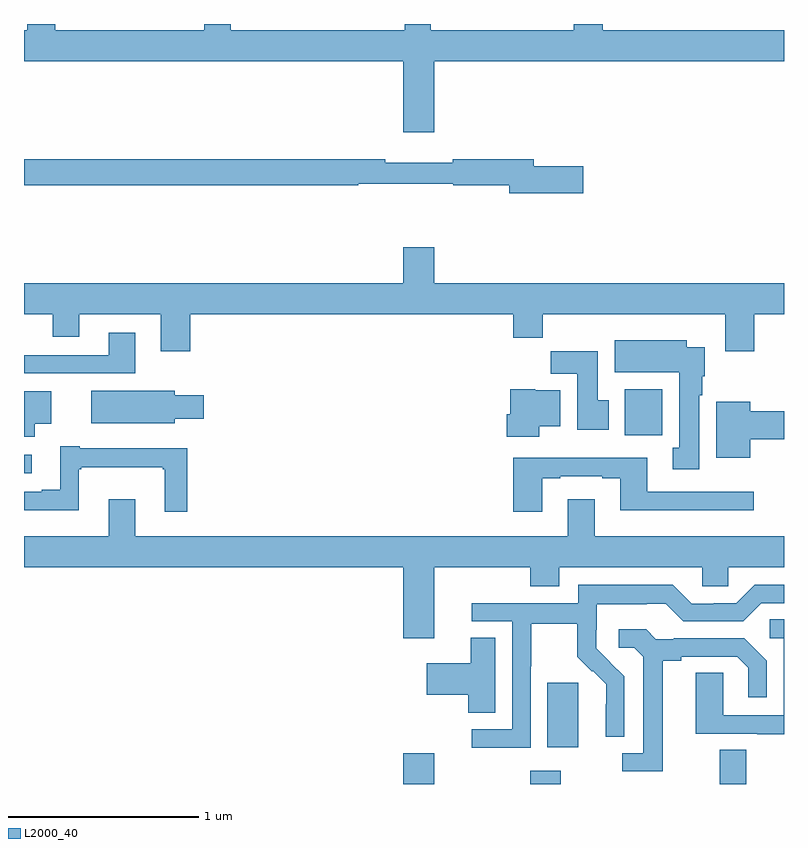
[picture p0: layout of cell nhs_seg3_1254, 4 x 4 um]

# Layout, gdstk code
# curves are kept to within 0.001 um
import gdstk
lib = gdstk.Library(unit=1e-6, precision=1e-09)
def R(c, l, rs):  # rectangles x0, y0, x1, y1
    for r in rs: c.add(gdstk.rectangle(r[:2], r[2:], *l))
def P(c, l, *ps):  # polygons
    for p in ps: c.add(gdstk.Polygon(p, *l))
L2000_40 = (2000, 40)

nhs_seg3_1254 = lib.new_cell('nhs_seg3_1254')
R(nhs_seg3_1254, L2000_40, [(176.996,742.4,177.16,742.561), (177.665,742.4,177.825,742.471), (178.661,742.4,178.801,742.58), (177.755,742.593,177.916,742.933), (175,744.036,175.042,744.132), (178.163,744.236,178.36,744.478)])
P(nhs_seg3_1254, L2000_40, [(177.16,746.204),(179,746.204),(179,746.368),(178.046,746.368),(178.046,746.4),(177.893,746.4),(177.893,746.368),(177.141,746.368),(177.141,746.4),(177.003,746.4),(177.003,746.368),(176.089,746.368),(176.089,746.4),(175.949,746.4),(175.949,746.368),(175.165,746.368),(175.165,746.4),(175.018,746.4),(175.018,746.368),(175,746.368),(175,746.204),(176.996,746.204),(176.996,745.83),(177.16,745.83)],
  [(177.943,745.652),(177.682,745.652),(177.682,745.688),(177.256,745.688),(177.256,745.669),(176.9,745.669),(176.9,745.688),(175,745.688),(175,745.552),(176.758,745.552),(176.758,745.56),(177.258,745.56),(177.258,745.552),(177.554,745.552),(177.554,745.51),(177.943,745.51)],
  [(175.874,744.872),(177.575,744.872),(177.575,744.748),(177.731,744.748),(177.731,744.872),(178.691,744.872),(178.691,744.678),(178.844,744.678),(178.844,744.872),(179,744.872),(179,745.036),(177.16,745.036),(177.16,745.225),(176.996,745.225),(176.996,745.036),(175,745.036),(175,744.872),(175.151,744.872),(175.151,744.755),(175.291,744.755),(175.291,744.872),(175.721,744.872),(175.721,744.678),(175.874,744.678)],
  [(175.585,744.775),(175.445,744.775),(175.445,744.657),(175,744.657),(175,744.561),(175.585,744.561)],
  [(178.555,744.446),(178.57,744.446),(178.57,744.546),(178.582,744.546),(178.582,744.7),(178.489,744.7),(178.489,744.736),(178.109,744.736),(178.109,744.566),(178.448,744.566),(178.448,744.17),(178.415,744.17),(178.415,744.057),(178.555,744.057)],
  [(178.078,744.42),(178.021,744.42),(178.021,744.678),(177.772,744.678),(177.772,744.56),(177.911,744.56),(177.911,744.264),(178.078,744.264)],
  [(177.712,744.284),(177.823,744.284),(177.823,744.472),(177.69,744.472),(177.69,744.478),(177.56,744.478),(177.56,744.345),(177.542,744.345),(177.542,744.227),(177.712,744.227)],
  [(175.794,744.323),(175.945,744.323),(175.945,744.445),(175.794,744.445),(175.794,744.469),(175.355,744.469),(175.355,744.299),(175.794,744.299)],
  [(175.056,744.296),(175.144,744.296),(175.144,744.466),(175,744.466),(175,744.227),(175.056,744.227)],
  [(178.822,744.215),(179,744.215),(179,744.362),(178.822,744.362),(178.822,744.412),(178.643,744.412),(178.643,744.116),(178.822,744.116)],
  [(175.859,744.166),(175.294,744.166),(175.294,744.178),(175.19,744.178),(175.19,743.95),(175.094,743.95),(175.094,743.937),(175,743.937),(175,743.84),(175.288,743.84),(175.288,744.057),(175.3,744.057),(175.3,744.068),(175.731,744.068),(175.731,744.057),(175.742,744.057),(175.742,743.832),(175.859,743.832)],
  [(177.727,744.009),(177.823,744.009),(177.823,744.021),(178.043,744.021),(178.043,744.009),(178.139,744.009),(178.139,743.84),(178.84,743.84),(178.84,743.937),(178.279,743.937),(178.279,744.118),(177.575,744.118),(177.575,743.832),(177.727,743.832)],
  [(177.16,743.54),(177.665,743.54),(177.665,743.441),(177.817,743.441),(177.817,743.54),(178.569,743.54),(178.569,743.442),(178.707,743.442),(178.707,743.54),(179,743.54),(179,743.704),(178.003,743.704),(178.003,743.899),(177.863,743.899),(177.863,743.704),(175.585,743.704),(175.585,743.899),(175.445,743.899),(175.445,743.704),(175,743.704),(175,743.54),(176.996,743.54),(176.996,743.166),(177.16,743.166)],
  [(177.666,743.02),(177.669,743.02),(177.669,743.244),(177.913,743.244),(177.913,743.069),(177.99,742.992),(177.993,742.995),(178.064,742.925),(178.064,742.82),(178.061,742.82),(178.061,742.648),(178.158,742.648),(178.158,742.966),(178.012,743.114),(178.012,743.211),(178.014,743.211),(178.014,743.345),(178.277,743.345),(178.277,743.349),(178.377,743.349),(178.47,743.256),(178.785,743.256),(178.881,743.352),(179,743.352),(179,743.448),(178.845,743.448),(178.749,743.352),(178.631,743.352),(178.631,743.349),(178.515,743.349),(178.415,743.449),(177.918,743.449),(177.918,743.352),(177.357,743.352),(177.357,743.256),(177.57,743.256),(177.57,742.689),(177.357,742.689),(177.357,742.591),(177.666,742.591)],
  [(179,743.267),(178.926,743.267),(178.926,743.166),(178.998,743.166),(178.998,742.761),(178.68,742.761),(178.68,742.985),(178.535,742.985),(178.535,742.665),(178.859,742.665),(178.859,742.661),(179,742.661)],
  [(178.363,743.048),(178.459,743.048),(178.459,743.07),(178.754,743.07),(178.811,743.013),(178.811,742.857),(178.908,742.857),(178.908,743.05),(178.792,743.166),(178.42,743.166),(178.42,743.163),(178.326,743.163),(178.274,743.215),(178.131,743.215),(178.131,743.118),(178.212,743.118),(178.259,743.071),(178.259,742.563),(178.149,742.563),(178.149,742.467),(178.363,742.467)],
  [(177.481,743.171),(177.35,743.171),(177.35,743.035),(177.12,743.035),(177.12,742.87),(177.338,742.87),(177.338,742.774),(177.481,742.774)])

lib.write_gds('nhs_seg3_1254.gds')
